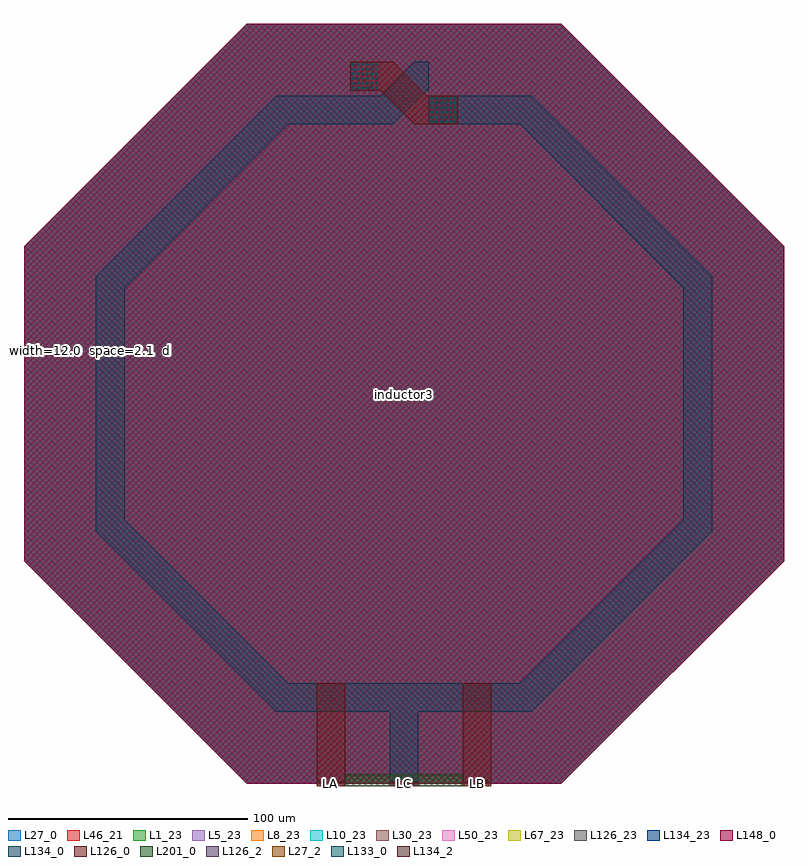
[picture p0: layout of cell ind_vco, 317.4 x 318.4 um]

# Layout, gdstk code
import gdstk
lib = gdstk.Library(unit=1e-6, precision=1e-09)
def R(c, l, rs):  # rectangles x0, y0, x1, y1
    for r in rs: c.add(gdstk.rectangle(r[:2], r[2:], *l))
def A(c, l, x, y, w, h, nx, ny, dx, dy):  # array of equal rectangles
    R(c, l, [(x+i*dx, y+j*dy, x+i*dx+w, y+j*dy+h) for i in range(nx) for j in range(ny)])
def P(c, l, *ps):  # polygons
    for p in ps: c.add(gdstk.Polygon(p, *l))
L1_23 = (1, 23)
L5_23 = (5, 23)
L8_23 = (8, 23)
L10_23 = (10, 23)
L27_0 = (27, 0)
L27_2 = (27, 2)
L30_23 = (30, 23)
L46_21 = (46, 21)
L50_23 = (50, 23)
L67_23 = (67, 23)
L126_0 = (126, 0)
L126_2 = (126, 2)
L126_23 = (126, 23)
L133_0 = (133, 0)
L134_0 = (134, 0)
L134_2 = (134, 2)
L134_23 = (134, 23)
L148_0 = (148, 0)
L201_0 = (201, 0)

ind_vco = lib.new_cell('ind_vco')
P(ind_vco, L1_23, [(-65.735,0),(-158.7,92.965),(-158.7,224.435),(-65.735,317.4),(65.735,317.4),(158.7,224.435),(158.7,92.965),(65.735,0)])
P(ind_vco, L5_23, [(-65.735,0),(-158.7,92.965),(-158.7,224.435),(-65.735,317.4),(65.735,317.4),(158.7,224.435),(158.7,92.965),(65.735,0)])
P(ind_vco, L8_23, [(-65.735,0),(-158.7,92.965),(-158.7,224.435),(-65.735,317.4),(65.735,317.4),(158.7,224.435),(158.7,92.965),(65.735,0)])
P(ind_vco, L10_23, [(-65.735,0),(-158.7,92.965),(-158.7,224.435),(-65.735,317.4),(65.735,317.4),(158.7,224.435),(158.7,92.965),(65.735,0)])
P(ind_vco, L27_0, [(-65.735,0),(-158.7,92.965),(-158.7,224.435),(-65.735,317.4),(65.735,317.4),(158.7,224.435),(158.7,92.965),(65.735,0)])
A(ind_vco, L27_2, -36.525, -1, 12, 2, 3, 1, 30.525, 0)
P(ind_vco, L30_23, [(-65.735,0),(-158.7,92.965),(-158.7,224.435),(-65.735,317.4),(65.735,317.4),(158.7,224.435),(158.7,92.965),(65.735,0)])
P(ind_vco, L46_21, [(-65.735,0),(-158.7,92.965),(-158.7,224.435),(-65.735,317.4),(65.735,317.4),(158.7,224.435),(158.7,92.965),(65.735,0)])
P(ind_vco, L50_23, [(-65.735,0),(-158.7,92.965),(-158.7,224.435),(-65.735,317.4),(65.735,317.4),(158.7,224.435),(158.7,92.965),(65.735,0)])
P(ind_vco, L67_23, [(-65.735,0),(-158.7,92.965),(-158.7,224.435),(-65.735,317.4),(65.735,317.4),(158.7,224.435),(158.7,92.965),(65.735,0)])
P(ind_vco, L126_0, [(4.585,275.38),(-9.535,289.5),(-22.425,289.5),(-22.425,301.5),(-4.585,301.5),(9.535,287.38),(22.425,287.38),(22.425,275.38)])
R(ind_vco, L126_2, [(-36.525,-1,-24.525,1), (-36.525,-1,-24.525,1), (24.525,-1,36.525,1), (24.525,-1,36.525,1)])
P(ind_vco, L126_23, [(-65.735,0),(-158.7,92.965),(-158.7,224.435),(-65.735,317.4),(65.735,317.4),(158.7,224.435),(158.7,92.965),(65.735,0)])
A(ind_vco, L133_0, 11.075, 276.03, 0.9, 0.9, 6, 6, 1.96, 1.96)
A(ind_vco, L133_0, -21.775, 290.13, 0.9, 0.9, 6, 6, 1.96, 1.96)
R(ind_vco, L134_0, [(-10.425,30,10.425,42)])
P(ind_vco, L134_0, [(8.1,30),(8.1,42),(48.33,42),(116.69,110.36),(116.69,207.02),(48.33,275.38),(10.425,275.38),(10.425,287.38),(53.31,287.38),(128.69,212),(128.69,105.38),(53.31,30)],
  [(-53.31,30),(-128.69,105.38),(-128.69,212),(-53.31,287.38),(-10.425,287.38),(-10.425,275.38),(-48.33,275.38),(-116.69,207.02),(-116.69,110.36),(-48.33,42),(-8.1,42),(-8.1,30)],
  [(-10.425,275.38),(-10.425,287.38),(-9.535,287.38),(4.585,301.5),(10.425,301.5),(10.425,289.5),(9.565,289.5),(-4.555,275.38)])
R(ind_vco, L134_2, [(-6,-1,6,1), (-6,-1,6,1)])
P(ind_vco, L134_23, [(-65.735,0),(-158.7,92.965),(-158.7,224.435),(-65.735,317.4),(65.735,317.4),(158.7,224.435),(158.7,92.965),(65.735,0)])
P(ind_vco, L148_0, [(-65.735,0),(-158.7,92.965),(-158.7,224.435),(-65.735,317.4),(65.735,317.4),(158.7,224.435),(158.7,92.965),(65.735,0)])
R(ind_vco, L201_0, [(-24.525,-1,24.525,4)])
ind_vco.add(gdstk.FlexPath([(0,-1),(0,30)], 12, ends="flush", simple_path=True, layer=134, datatype=0))  # L134_0
ind_vco.add(gdstk.FlexPath([(30.525,-1),(30.525,42)], 12, ends="flush", simple_path=True, layer=126, datatype=0))  # L126_0
ind_vco.add(gdstk.FlexPath([(-30.525,-1),(-30.525,42)], 12, ends="flush", simple_path=True, layer=126, datatype=0))  # L126_0
ind_vco.add(gdstk.Label('LC', (0,0), layer=27, texttype=25))
ind_vco.add(gdstk.Label('LB', (30.525,0), layer=27, texttype=25))
ind_vco.add(gdstk.Label('LA', (-30.525,0), layer=27, texttype=25))
ind_vco.add(gdstk.Label('inductor3', (0,162.563), layer=63, texttype=0))
ind_vco.add(gdstk.Label('  width=12.0\n  space=2.1\n  diameter=233.38\n  turns=1', (-158.7,180.948), layer=63, texttype=0))

lib.write_gds('ind_vco.gds')
